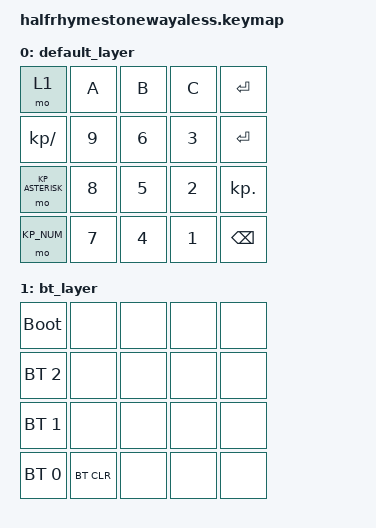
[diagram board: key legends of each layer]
#include <behaviors.dtsi>
#include <dt-bindings/zmk/keys.h>
#include <dt-bindings/zmk/bt.h>

/ {
    keymap {
        compatible = "zmk,keymap";

        default_layer  {
            bindings = <
                &mo 1    &kp A    &kp B     &kp C    &kp ENTER
                &kp KP_SLASH    &kp N9    &kp N6     &kp N3    &kp ENTER
                &mo KP_ASTERISK    &kp N8    &kp N5     &kp N2    &kp KP_DOT
                &mo KP_NUM    &kp N7    &kp N4     &kp N1    &kp BSPC
            >;
        }:

        bt_layer  {
            bindings = <
                &bootloader    &none        &none  &none  &none
                &bt BT_SEL 2  &none          &none  &none  &none
                &bt BT_SEL 1  &none          &none  &none  &none
                &bt BT_SEL 0  &bt BT_CLR    &none  &none  &none     
            >;
        };
    };
};
          
                
